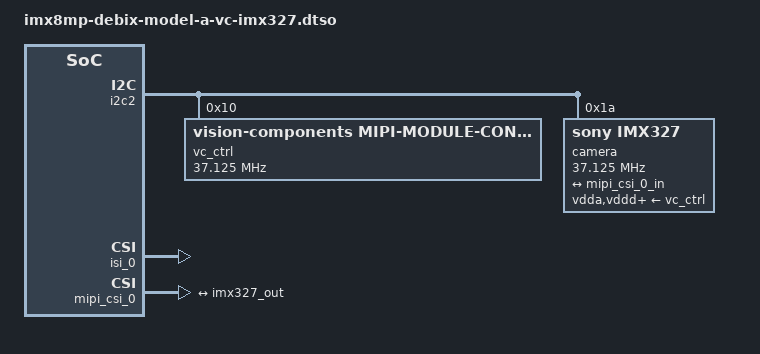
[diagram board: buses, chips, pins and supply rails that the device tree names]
// SPDX-License-Identifier: (GPL-2.0+ OR MIT)
/*
 * Copyright 2025 Ideas on Board Oy
 */

/dts-v1/;
/plugin/;

#include "imx8mp-pinfunc.h"

&i2c2 {
	status = "okay";

	vc_ctrl: controller@10 {
		compatible = "vision-components,mipi-module-controller";
		reg = <0x10>;
		#clock-cells = <0>;
		clock-frequency = <37125000>;
	};

	camera@1a {
		compatible = "sony,imx327", "sony,imx290";
		reg = <0x1a>;

		pinctrl-names = "default";
		pinctrl-0 = <&pinctrl_csi0_rst>;

		clocks = <&vc_ctrl>;
		clock-names = "xclk";
		clock-frequency = <37125000>;

		vdda-supply = <&vc_ctrl>;
		vddd-supply = <&vc_ctrl>;
		vdddo-supply = <&vc_ctrl>;

		orientation = <2>; /* External camera */
		rotation = <0>;

		port {
			imx327_out: endpoint {
				data-lanes = <1 2 3 4>;
				link-frequencies = /bits/ 64 <148500000 222750000>;
				remote-endpoint = <&mipi_csi_0_in>;
			};
		};
	};
};

&iomuxc {
	pinctrl_csi0_rst: csi0_rst_grp {
		fsl,pins = <
			MX8MP_IOMUXC_SD1_STROBE__GPIO2_IO11	0x19
		>;
	};
};

&isi_0 {
	status = "okay";
};

&mipi_csi_0 {
	status = "okay";

	ports {
		port@0 {
			mipi_csi_0_in: endpoint {
				remote-endpoint = <&imx327_out>;
				data-lanes = <1 2 3 4>;
			};
		};
	};
};
